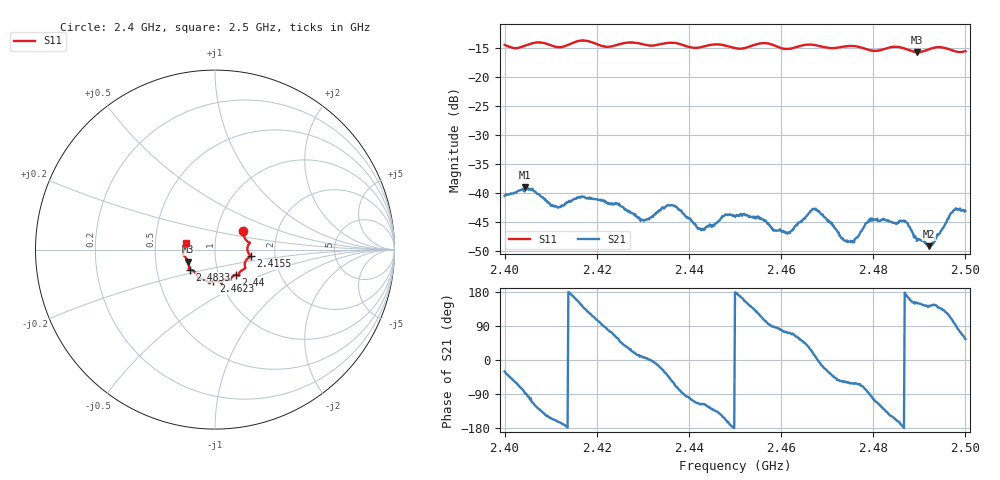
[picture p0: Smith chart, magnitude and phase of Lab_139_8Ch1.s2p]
# Hz S RI R 50
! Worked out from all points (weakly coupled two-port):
!   601 points, 2.4 GHz to 2.5 GHz, reference 50 ohm
!   highest |S21| = -39.02 dB at 2.4045 GHz (marker M1); lowest = -49.2 dB at 2.492 GHz (marker M2)
!   lowest |S11| = -15.7 dB at 2.4895 GHz (marker M3), VSWR 1.39, Z = 36.8 - j5.11 ohm
!   |S11| at or under -10 dB: start of sweep to end of sweep
!   S12 and S22 are empty: the file has one direction only
!   S11 on the Smith chart (normalised r, x): 2.4 GHz: 1.33, +0.29; 2.4155 GHz: 1.49, -0.11; 2.44 GHz: 1.21, -0.35; 2.4623 GHz: 0.92, -0.34; 2.4833 GHz: 0.74, -0.17; 2.5 GHz: 0.72, +0.05
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2.4e9  0.1565 0.1057  0.0081 -0.00478  0 0  0 0
2.4045e9  0.1809 0.0449  9.47e-05 -0.0112  0 0  0 0
2.411333e9  0.1808 0.00945  -0.00719 -0.00244  0 0  0 0
2.4155e9  0.1982 -0.0361  -0.00834 0.00302  0 0  0 0
2.416667e9  0.2023 -0.0401  -0.00769 0.00522  0 0  0 0
2.4245e9  0.1662 -0.0908  0.00428 0.0068  0 0  0 0
2.43e9  0.1554 -0.1119  0.00573 0.00084  0 0  0 0
2.433333e9  0.1343 -0.1343  0.00664 -0.00163  0 0  0 0
2.4365e9  0.1338 -0.145  0.00409 -0.00661  0 0  0 0
2.44e9  0.1154 -0.14  -0.00104 -0.0059  0 0  0 0
2.443e9  0.0916 -0.1575  -0.00216 -0.00429  0 0  0 0
2.45e9  0.0639 -0.1655  -0.0062 0.000167  0 0  0 0
2.462333e9  -0.00869 -0.176  0.00176 0.00436  0 0  0 0
2.466667e9  -0.0337 -0.1868  0.00652 0.0028  0 0  0 0
2.474333e9  -0.0876 -0.1624  0.00197 -0.00335  0 0  0 0
2.479333e9  -0.1065 -0.1321  -0.000112 -0.00577  0 0  0 0
2.483333e9  -0.1396 -0.1115  -0.00452 -0.00348  0 0  0 0
2.487e9  -0.1447 -0.0976  -0.00564 0.000647  0 0  0 0
2.4895e9  -0.1487 -0.0677  -0.00332 0.00193  0 0  0 0
2.492e9  -0.1685 -0.0379  -0.00269 0.00219  0 0  0 0
2.497333e9  -0.1684 -0.00236  -0.00133 0.00685  0 0  0 0
2.5e9  -0.1629 0.0371  0.00398 0.00574  0 0  0 0
